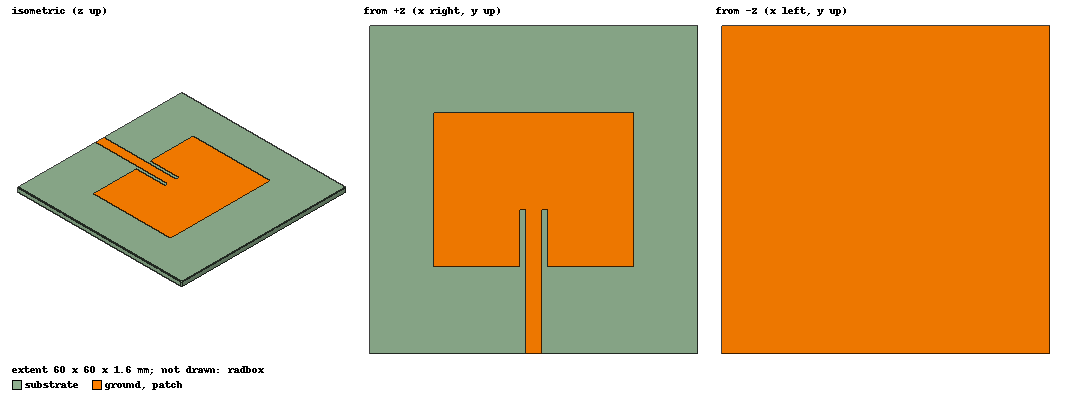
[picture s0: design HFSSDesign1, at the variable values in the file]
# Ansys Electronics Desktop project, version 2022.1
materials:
  vacuum: permittivity=1
  FR4_epoxy: permittivity=4.4 dielectric_loss_tangent=0.02

design HFSSDesign1 (HFSS, DrivenModal, model units mm)
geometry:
  ground = rectangle(corner=((-60/2) mm, (-60/2) mm, 0mm), x_size=60mm, y_size=60mm)
  substrate [FR4_epoxy] = box(corner=(-30mm, -30mm, 0mm), size=(60mm, 60mm, 1.6mm))
  patch = rectangle(corner=((-36.49/2) mm, (-28.22/2) mm, 1.6mm), x_size=36.49mm, y_size=28.22mm)
  cut = rectangle(corner=((-5.06/2) mm, (-28.22/2) mm, 1.6mm), x_size=5.06mm, y_size=10.51mm)
  patch.subtract(cut)
  feedline = rectangle(corner=((-3.06/2) mm, -30mm, 1.6mm), x_size=3.06mm, y_size=30mm)
  patch.unite(feedline)
  port = rectangle(corner=(-1.53mm, -30mm, 1.6mm), z_size=-1.6mm, x_size=3mm)
  radbox [vacuum] = box(corner=(-40mm, -40mm, -25mm), size=(80mm, 80mm, 50mm))
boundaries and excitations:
  PerfE1: Perfect E Objects=[patch, ground]
  Rad1: Radiation Objects=radbox
  1: Lumped Port Objects=port Modes{Mode1{IntLine{(0, -30, 0) -> (-0.03, -30, 1.6)} CharImp=Zpi RenormImp=50ohm}} Impedance=50ohm
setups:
  Setup1: HfssDriven Frequency=2.5GHz MaxDeltaS=0.02 MaximumPasses=20 MinimumPasses=1 MinimumConvergedPasses=1 PercentRefinement=30 BasisOrder=1 PortAccuracy=2 DrivenSolverType="Direct Solver"
    sweep Sweep: 1GHz to 3GHz step 0.02GHz; Type=Fast SaveFields
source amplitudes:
  1:1: 1W 0deg
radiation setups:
  Infinite Sphere1: Infinite Sphere Theta=0deg..360deg step 10deg Phi=0deg..360deg step 10deg
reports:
  S Parameter Plot 1: dB(S(1,1)) vs Freq on Setup1 : Sweep; markers m1 at 2.26GHz
